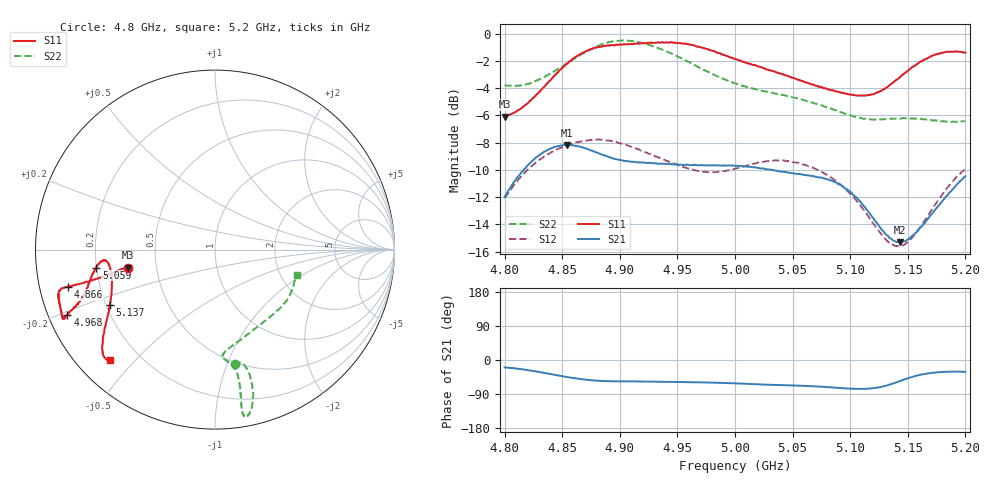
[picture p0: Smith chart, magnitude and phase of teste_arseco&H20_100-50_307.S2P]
! Network Analyzer HP8722D
! Hewlett-Packard
! Data name: Linha & Wilkinson
! Saver's name: Rodrigo Anjos
! Comments: Teste da utilização de aquisição
! continua pelo VNA HP8722D
! Time and date: 6/5/2025 15:07
!  Frequency  S11  S21  S12  S22
# HZ  S  MA R 50
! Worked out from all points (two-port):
!   401 points, 4.8 GHz to 5.2 GHz, reference 50 ohm
!   highest |S21| = -8.17 dB at 4.854 GHz (marker M1); lowest = -15.3 dB at 5.143 GHz (marker M2)
!   |S21| within 3 dB of the highest: 4.806 GHz to 5.093 GHz (286.7 MHz wide, 5.79 % of centre); 5.191616 GHz to end of sweep
!   lowest |S11| = -6.1 dB at 4.8 GHz (marker M3), VSWR 2.97, Z = 17 - j4.57 ohm
!   |S11| at or under -10 dB: nowhere
!   |S22| runs from -6.5 to -0.5 dB; largest |S21 - S12| = 0.62
!   S11 on the Smith chart (normalised r, x): 4.8 GHz: 0.34, -0.09; 4.866 GHz: 0.09, -0.12; 4.968 GHz: 0.06, -0.21; 5.059 GHz: 0.20, -0.07; 5.137 GHz: 0.22, -0.23; 5.2 GHz: 0.09, -0.43
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4.8e9  0.4965 -168.2  0.2516 -19.6  0.2488 -140.9  0.6486 -80.4
4.826e9  0.5872 -167.2  0.3476 -29.6  0.3326 -144.5  0.6688 -75.7
4.854e9  0.7763 -165.8  0.3905 -44.9  0.3896 -149.9  0.7776 -74.7
4.866e9  0.8426 -165.8  0.3837 -50.3  0.4022 -151.8  0.8368 -75.2
4.867e9  0.8484 -165.8  0.3836 -50.8  0.403 -151.9  0.8429 -75.4
4.88e9  0.8892 -165.4  0.3658 -54.5  0.4089 -154.1  0.9005 -76.8
4.901e9  0.9139 -162.3  0.3439 -56.3  0.3955 -156.7  0.9444 -79.2
4.934e9  0.9306 -156.4  0.3329 -57.4  0.3515 -155.6  0.8831 -80.4
4.968e9  0.8979 -156.2  0.3289 -59.1  0.3136 -147.6  0.7547 -79.6
5e9  0.8078 -158.9  0.3277 -61.8  0.3195 -137.2  0.6571 -81.3
5.032e9  0.7308 -164.7  0.3157 -65.6  0.342 -134.1  0.6069 -85.3
5.059e9  0.6686 -171.4  0.3031 -68.1  0.3314 -135.9  0.5714 -84.4
5.067e9  0.6517 -172.9  0.3004 -69.1  0.3233 -136.7  0.5593 -82.7
5.083e9  0.6212 -174.5  0.2886 -72.1  0.2975 -138.2  0.5318 -76.8
5.101e9  0.5985 -172.0  0.2611 -75.7  0.2555 -138.8  0.5005 -66.5
5.115e9  0.5944 -165.9  0.2242 -75.9  0.2156 -135.8  0.486 -56.5
5.134e9  0.6465 -154.3  0.1783 -65.2  0.1706 -120.7  0.4868 -43.3
5.137e9  0.6605 -152.4  0.1745 -62.3  0.1678 -116.9  0.4883 -41.4
5.143e9  0.6911 -149.2  0.1714 -55.9  0.1661 -108.9  0.4876 -38.0
5.154e9  0.7558 -144.5  0.1812 -44.4  0.1784 -95.0  0.4879 -32.2
5.173e9  0.8354 -138.8  0.2235 -33.3  0.2332 -80.7  0.4811 -24.2
5.2e9  0.8521 -133.5  0.2999 -31.2  0.3188 -76.8  0.4779 -17.6
